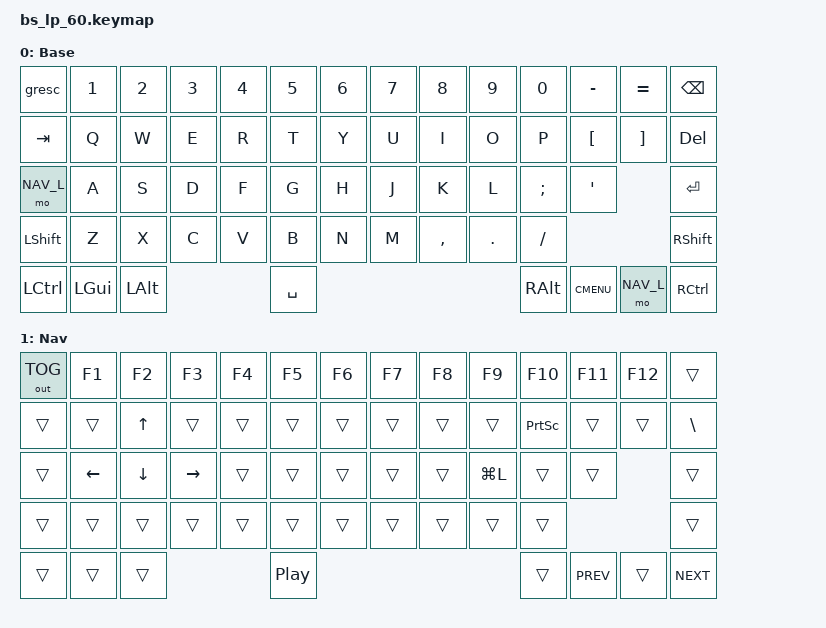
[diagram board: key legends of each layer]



/*
 * Copyright (c) 2021 Cole Smith
 *
 * SPDX-License-Identifier: MIT
 */

#include <behaviors.dtsi>
#include <dt-bindings/zmk/keys.h>
#include <dt-bindings/zmk/bt.h>
#include <dt-bindings/zmk/outputs.h>
#include <dt-bindings/zmk/reset.h>
#include <dt-bindings/zmk/ext_power.h>

#define BAS_L 0
#define NAV_L 1

/ {
	keymap {
		compatible = "zmk,keymap";
		
		default_layer {
// ------------------------------------------------------------------------------------------
// | ESC |  1  |  2  |  3  |  4  |  5  |  6  |  7  |  8  |  9  |  0  |  -  |  =  |   BKSP   |
// | TAB  |  Q  |  W  |  E  |  R  |  T  |  Y  |  U  |  I  |  O  |  P  |  [  |  ]  |   DEL   |
// | MO(1) |  A  |  S  |  D  |  F  |  G  |  H  |  J  |  K  |  L  |  ;  |  '  |     ENTER    |
// | L SHIFT |  Z  |  X  |  C  |  V  |  B  |  N  |  M  |  ,  |  .  |  /  |      SHIFT       |
// | CTRL  |  WIN  |  ALT  |            SPACE              |  ALT  | MENU  |  MO(1) | CTRL  |
// ------------------------------------------------------------------------------------------
            label = "Base";

			bindings = <
	&gresc     &kp N1   &kp N2    &kp N3  &kp N4  &kp N5  &kp N6  &kp N7  &kp N8     &kp N9   &kp N0    &kp MINUS    &kp EQUAL  &kp BSPC
	&kp TAB    &kp Q    &kp W     &kp E   &kp R   &kp T   &kp Y   &kp U   &kp I      &kp O    &kp P     &kp LBKT     &kp RBKT   &kp DEL
	&mo NAV_L  &kp A    &kp S     &kp D   &kp F   &kp G   &kp H   &kp J   &kp K      &kp L    &kp SEMI  &kp SQT                 &kp RET
	&kp LSHFT  &kp Z    &kp X     &kp C   &kp V   &kp B   &kp N   &kp M   &kp COMMA  &kp DOT  &kp FSLH                          &kp RSHFT
	&kp LCTRL  &kp LGUI &kp LALT                  &kp SPACE                                   &kp RALT  &kp K_CMENU  &mo NAV_L  &kp RCTRL
			>;
		};

		ble_layer {
// ------------------------------------------------------------------------------------------
// | B/U | F1  | F2  | F3  | F4  | F5  | F6  | F7  | F8  | F9  | F10 | F11 | F12 |          |
// |      |     |  UP |     |     |     |     |     |     |     |PtScr|     |     |   "|"   |
// |       | LT  | DN  | RT  |     |     |     |     |     | Lck |     |     |              |
// |         |     |     |     |     |     |     |     |     |     |     |                  |
// |       |       |       |             PLAY/PAUSE        |       | PrvTk |        | NxTrk |
// ------------------------------------------------------------------------------------------
            label = "Nav";

			bindings = <
	&out OUT_TOG  &kp F1    &kp F2    &kp F3    &kp F4  &kp F5  &kp F6  &kp F7  &kp F8   &kp F9     &kp F10    &kp F11     &kp F12  &trans
	&trans        &trans    &kp UP    &trans    &trans  &trans  &trans  &trans  &trans   &trans     &kp PSCRN  &trans      &trans   &kp BSLH 
	&trans        &kp LEFT  &kp DOWN  &kp RIGHT &trans  &trans  &trans  &trans  &trans   &kp LG(L)  &trans     &trans               &trans
	&trans        &trans    &trans    &trans    &trans  &trans  &trans  &trans  &trans   &trans     &trans                          &trans
	&trans        &trans    &trans                      &kp C_PLAY_PAUSE                            &trans     &kp C_PREV  &trans   &kp C_NEXT
			>;
		};
	};
};
